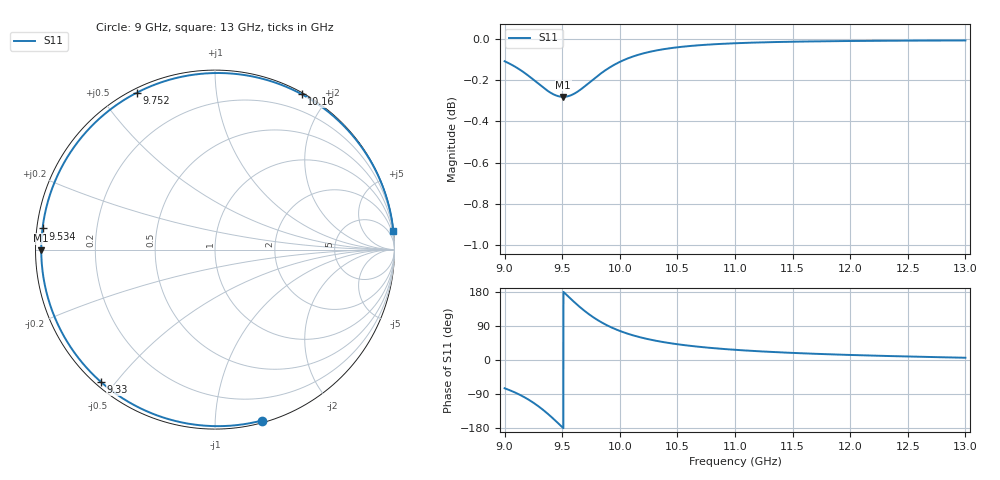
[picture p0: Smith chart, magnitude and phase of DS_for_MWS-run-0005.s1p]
! TOUCHSTONE file generated by CST DESIGN STUDIO
! Date and time: Tue Feb  4 17:30:58 2025
! Project name: C:\Work\MatlabApps\UnitCellOptimizationMatlab\CST\unitcell.cst
! Tree item: Tasks\Sweep1\SPara1\S-Parameters
! Header version: 2024
! Port assignment regex: !\s*Touchstone port\s*([0-9]+)\s*=\s*(CST MWS port|CST DES external port|CST DES block port)\s*(.+)\s* \(\"(.*)\"\)(\s*mode\s*([0-9]+))?.*
! Touchstone port assignment:
! Touchstone port 1 = CST DES external port 1 ("")
# GHz S MA R 50
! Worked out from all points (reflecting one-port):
!   4001 points, 9 GHz to 13 GHz, reference 50 ohm
!   lowest |S11| = -0.3 dB at 9.509 GHz (marker M1), VSWR 61.84, Z = 0.809 - j0.128 ohm
!   phase of S11 starts at -75 deg and turns -279 deg over the sweep
!   S11 on the Smith chart (normalised r, x): 9 GHz: 0.02, -1.31; 9.33 GHz: 0.02, -0.46; 9.534 GHz: 0.02, +0.06; 9.752 GHz: 0.02, +0.62; 10.16 GHz: 0.02, +1.70; 13 GHz: 0, +19
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9  0.9877 -74.6
9.088  0.9848 -85.4
9.191  0.9804 -101.5
9.263  0.9769 -115.5
9.33  0.9735 -130.6
9.376  0.9713 -142.2
9.423  0.9696 -155.0
9.462  0.9686 -166.0
9.5  0.9682 -177.1
9.509  0.9682 -179.7
9.534  0.9683 173.0
9.588  0.9694 157.5
9.648  0.9716 141.2
9.699  0.9741 128.4
9.752  0.9768 116.5
9.803  0.9794 106.2
9.86  0.9821 96.2
10  0.9873 76.7
10.079  0.9895 68.4
10.165  0.9913 60.9
10.317  0.9936 50.6
10.5  0.9954 41.6
10.722  0.9967 33.8
11  0.9977 26.9
11.5  0.9985 18.7
12  0.9989 13.3
12.5  0.9991 9.2
13  0.9992 5.9
